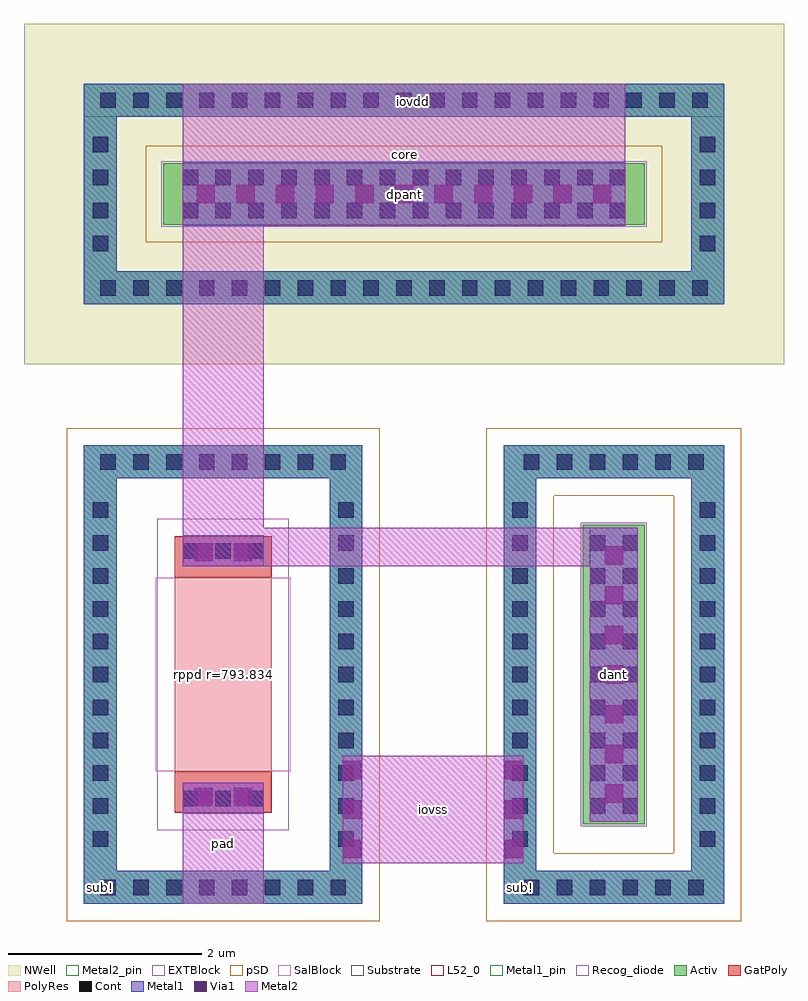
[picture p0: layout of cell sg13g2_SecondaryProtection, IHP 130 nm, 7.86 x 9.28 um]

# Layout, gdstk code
import gdstk
lib = gdstk.Library(unit=1e-6, precision=5e-09)
def R(c, l, rs):  # rectangles x0, y0, x1, y1
    for r in rs: c.add(gdstk.rectangle(r[:2], r[2:], *l))
def A(c, l, x, y, w, h, nx, ny, dx, dy):  # array of equal rectangles
    R(c, l, [(x+i*dx, y+j*dy, x+i*dx+w, y+j*dy+h) for i in range(nx) for j in range(ny)])
def P(c, l, *ps):  # polygons
    for p in ps: c.add(gdstk.Polygon(p, *l))
Activ = (1, 0)
GatPoly = (5, 0)
Cont = (6, 0)
Metal1 = (8, 0)
Metal1_pin = (8, 2)
Metal2 = (10, 0)
Metal2_pin = (10, 2)
pSD = (14, 0)
Via1 = (19, 0)
SalBlock = (28, 0)
NWell = (31, 0)
Substrate = (40, 0)
L52_0 = (52, 0)
Recog_diode = (99, 31)
EXTBlock = (111, 0)
PolyRes = (128, 0)

sg13g2_secondaryprotecti = lib.new_cell('sg13g2_SecondaryProtection')
R(sg13g2_secondaryprotecti, Activ, [(5.16,0.82,5.8,3.92), (0.82,7.02,5.8,7.66)])
P(sg13g2_secondaryprotecti, Activ, [(0,6.2),(0,8.14),(0.34,8.14),(0.34,6.54),(6.28,6.54),(6.28,8.14),(0,8.14),(0,8.48),(6.62,8.48),(6.62,6.2)],
  [(4.34,0),(4.34,4.4),(4.68,4.4),(4.68,0.34),(6.28,0.34),(6.28,4.4),(4.34,4.4),(4.34,4.74),(6.62,4.74),(6.62,0)],
  [(0,0),(0,4.4),(0.34,4.4),(0.34,0.34),(2.54,0.34),(2.54,4.4),(0,4.4),(0,4.74),(2.88,4.74),(2.88,0)])
R(sg13g2_secondaryprotecti, GatPoly, [(0.94,0.94,1.94,1.37), (0.94,3.37,1.94,3.8)])
A(sg13g2_secondaryprotecti, Cont, 0.17, 0.09, 0.16, 0.16, 8, 2, 0.34, 4.4)
A(sg13g2_secondaryprotecti, Cont, 4.55, 0.09, 0.16, 0.16, 6, 2, 0.34, 4.4)
A(sg13g2_secondaryprotecti, Cont, 0.09, 0.59, 0.16, 0.16, 1, 11, 0, 0.34)
A(sg13g2_secondaryprotecti, Cont, 2.63, 0.59, 0.16, 0.16, 1, 11, 0, 0.34)
A(sg13g2_secondaryprotecti, Cont, 4.43, 0.59, 0.16, 0.16, 1, 11, 0, 0.34)
A(sg13g2_secondaryprotecti, Cont, 6.37, 0.59, 0.16, 0.16, 1, 11, 0, 0.34)
A(sg13g2_secondaryprotecti, Cont, 5.23, 0.93, 0.16, 0.16, 1, 9, 0, 0.34)
A(sg13g2_secondaryprotecti, Cont, 5.57, 0.93, 0.16, 0.16, 1, 9, 0, 0.34)
A(sg13g2_secondaryprotecti, Cont, 1.02, 1.01, 0.16, 0.16, 3, 2, 0.34, 2.56)
A(sg13g2_secondaryprotecti, Cont, 0.17, 6.29, 0.16, 0.16, 19, 2, 0.34, 1.94)
A(sg13g2_secondaryprotecti, Cont, 0.09, 6.75, 0.16, 0.16, 1, 4, 0, 0.34)
A(sg13g2_secondaryprotecti, Cont, 6.37, 6.75, 0.16, 0.16, 1, 4, 0, 0.34)
A(sg13g2_secondaryprotecti, Cont, 1.02, 7.09, 0.16, 0.16, 14, 2, 0.34, 0.34)
R(sg13g2_secondaryprotecti, Metal1, [(2.67,0.42,2.88,1.53), (4.34,0.42,4.55,1.53), (5.23,0.85,5.73,3.89), (1.02,0.93,1.86,1.25), (1.02,3.49,1.86,3.81), (1.02,7.01,5.6,7.67), (0,8.14,6.62,8.48)])
P(sg13g2_secondaryprotecti, Metal1, [(0,6.2),(0,8.14),(0.34,8.14),(0.34,6.54),(6.28,6.54),(6.28,8.14),(0,8.14),(0,8.48),(6.62,8.48),(6.62,6.2)],
  [(4.34,0),(4.34,4.4),(4.68,4.4),(4.68,0.34),(6.28,0.34),(6.28,4.4),(4.34,4.4),(4.34,4.74),(6.62,4.74),(6.62,0)],
  [(0,0),(0,4.4),(0.34,4.4),(0.34,0.34),(2.54,0.34),(2.54,4.4),(0,4.4),(0,4.74),(2.88,4.74),(2.88,0)])
R(sg13g2_secondaryprotecti, Metal1_pin, [(0,8.14,6.62,8.48)])
R(sg13g2_secondaryprotecti, Metal2, [(1.02,0,1.86,1.25), (2.675,0.42,4.545,1.53)])
P(sg13g2_secondaryprotecti, Metal2, [(5.23,0.85),(5.23,3.49),(1.02,3.49),(1.02,8.48),(5.6,8.48),(5.6,7.01),(1.86,7.01),(1.86,3.89),(5.73,3.89),(5.73,0.85)])
R(sg13g2_secondaryprotecti, Metal2_pin, [(1.02,0,1.86,1.25), (2.675,0.42,4.545,1.53), (1.02,7.01,5.6,8.48)])
R(sg13g2_secondaryprotecti, pSD, [(0,0,2.88,4.74), (0.64,6.84,5.98,7.84)])
P(sg13g2_secondaryprotecti, pSD, [(4.16,-0.18),(4.16,4.22),(4.86,4.22),(4.86,0.52),(6.1,0.52),(6.1,4.22),(4.16,4.22),(4.16,4.92),(6.8,4.92),(6.8,-0.18)],
  [(-0.18,-0.18),(-0.18,4.22),(0.52,4.22),(0.52,0.52),(2.36,0.52),(2.36,4.22),(-0.18,4.22),(-0.18,4.92),(3.06,4.92),(3.06,-0.18)])
A(sg13g2_secondaryprotecti, Via1, 2.68, 0.47, 0.19, 0.19, 1, 3, 0, 0.41)
A(sg13g2_secondaryprotecti, Via1, 4.35, 0.47, 0.19, 0.19, 1, 3, 0, 0.41)
A(sg13g2_secondaryprotecti, Via1, 5.385, 1.045, 0.19, 0.19, 1, 7, 0, 0.41)
A(sg13g2_secondaryprotecti, Via1, 1.165, 7.245, 0.19, 0.19, 11, 1, 0.41, 0)
R(sg13g2_secondaryprotecti, Via1, [(1.14,1.01,1.33,1.2), (1.55,1.01,1.74,1.2), (1.14,3.54,1.33,3.73), (1.55,3.54,1.74,3.73)])
R(sg13g2_secondaryprotecti, SalBlock, [(0.74,1.37,2.14,3.37)])
R(sg13g2_secondaryprotecti, NWell, [(-0.62,5.58,7.24,9.1), (0.2,6.4,6.42,8.28)])
P(sg13g2_secondaryprotecti, Substrate, [(4.34,0),(4.34,4.4),(4.68,4.4),(4.68,0.34),(6.28,0.34),(6.28,4.4),(4.34,4.4),(4.34,4.74),(6.62,4.74),(6.62,0)],
  [(0,0),(0,4.4),(0.34,4.4),(0.34,0.34),(2.54,0.34),(2.54,4.4),(0,4.4),(0,4.74),(2.88,4.74),(2.88,0)])
R(sg13g2_secondaryprotecti, L52_0, [(0.94,1.37,1.94,3.37)])
R(sg13g2_secondaryprotecti, Recog_diode, [(5.14,0.8,5.82,3.94), (0.8,7,5.82,7.68)])
R(sg13g2_secondaryprotecti, EXTBlock, [(0.76,0.76,2.12,3.98)])
R(sg13g2_secondaryprotecti, PolyRes, [(0.94,1.37,1.94,3.37)])
sg13g2_secondaryprotecti.add(gdstk.Label('iovss', (3.61,0.975), layer=10, texttype=25))
sg13g2_secondaryprotecti.add(gdstk.Label('core', (3.31,7.745), layer=10, texttype=25))
sg13g2_secondaryprotecti.add(gdstk.Label('pad', (1.44,0.625), layer=10, texttype=25))
sg13g2_secondaryprotecti.add(gdstk.Label('sub!', (4.51,0.17), layer=63, texttype=0))
sg13g2_secondaryprotecti.add(gdstk.Label('sub!', (0.17,0.17), layer=63, texttype=0))
sg13g2_secondaryprotecti.add(gdstk.Label('dpant', (3.31,7.34), layer=63, texttype=0))
sg13g2_secondaryprotecti.add(gdstk.Label('rppd r=793.834', (1.44,2.37), layer=63, texttype=0))
sg13g2_secondaryprotecti.add(gdstk.Label('dant', (5.48,2.37), layer=63, texttype=0))
sg13g2_secondaryprotecti.add(gdstk.Label('iovdd', (3.405,8.295), layer=8, texttype=25))

lib.write_gds('sg13g2_SecondaryProtection.gds')
